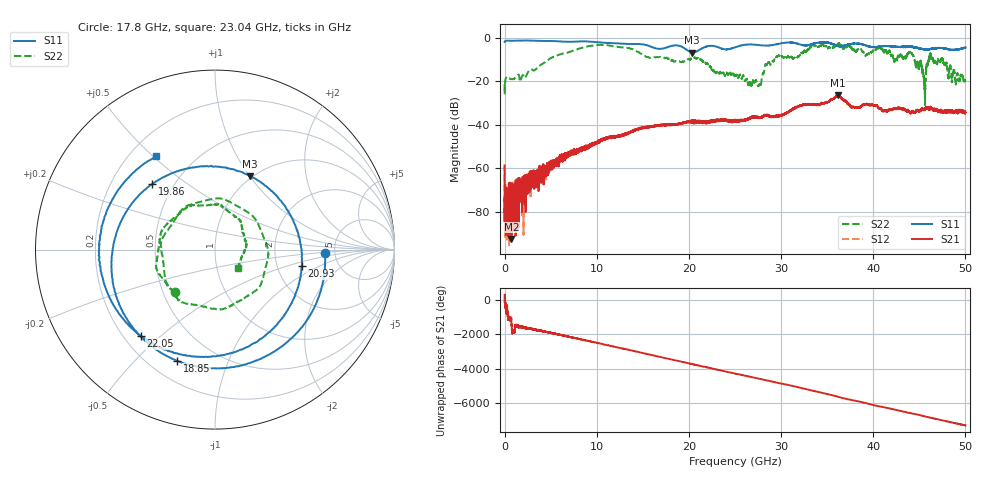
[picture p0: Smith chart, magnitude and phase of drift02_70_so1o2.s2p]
!Created with skrf (http://scikit-rf.org).
# Hz S RI R 50.0
!freq ReS11 ImS11 ReS21 ImS21 ReS12 ImS12 ReS22 ImS22
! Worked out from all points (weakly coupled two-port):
!   10001 points, 300 kHz to 50 GHz, reference 50 ohm
!   highest |S21| = -26.31 dB at 36.14 GHz (marker M1); lowest = -92.4 dB at 730.3 MHz (marker M2)
!   lowest |S11| = -6.9 dB at 20.36 GHz (marker M3), VSWR 2.65, Z = 48.6 + j49.9 ohm
!   |S11| at or under -10 dB: nowhere
!   |S22| runs from -30.9 to -2.5 dB; largest |S21 - S12| = 0.005
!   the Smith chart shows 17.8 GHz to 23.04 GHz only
!   S11 on the Smith chart (normalised r, x): 17.8 GHz: 4.15, -0.23; 18.85 GHz: 0.31, -0.67; 19.86 GHz: 0.38, +0.37; 20.93 GHz: 2.75, -0.67; 22.05 GHz: 0.27, -0.43; 23.04 GHz: 0.31, +0.51
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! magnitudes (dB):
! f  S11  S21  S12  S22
! 300 kHz  -2.1  -59.1  -58.1  -21.3
! 255.3 MHz  -1.4  -85.0  -73.8  -18.2
! 730.3 MHz  -1.5  -92.4  -89.3  -19.1
! 8.335 GHz  -1.7  -50.7  -52.0  -4.7
! 16.67 GHz  -5.2  -40.2  -40.3  -9.0
! 17.8 GHz  -4.3  -40.1  -40.0  -9.7
! 18.85 GHz  -3.7  -39.5  -39.6  -11.0
! 19.86 GHz  -5.9  -38.6  -38.7  -10.0
! 20.36 GHz  -6.9  -38.8  -38.2  -9.6
! 20.93 GHz  -6.2  -38.7  -38.7  -9.3
! 22.05 GHz  -4.0  -39.1  -38.6  -12.2
! 23.04 GHz  -4.2  -37.8  -37.9  -15.9
! 25 GHz  -4.5  -38.4  -38.6  -17.7
! 27.62 GHz  -3.5  -36.5  -36.7  -21.7
! 29.55 GHz  -3.1  -36.0  -36.0  -8.8
! 33.34 GHz  -3.0  -30.5  -30.6  -3.8
! 36.14 GHz  -3.8  -26.3  -27.0  -3.2
! 41.67 GHz  -3.9  -33.4  -33.4  -6.4
! 44.12 GHz  -4.1  -34.6  -34.6  -7.1
! 45.5 GHz  -5.4  -32.9  -32.9  -19.0
! 46.27 GHz  -5.2  -32.4  -32.2  -9.6
! 50 GHz  -4.6  -34.3  -34.1  -20.0
